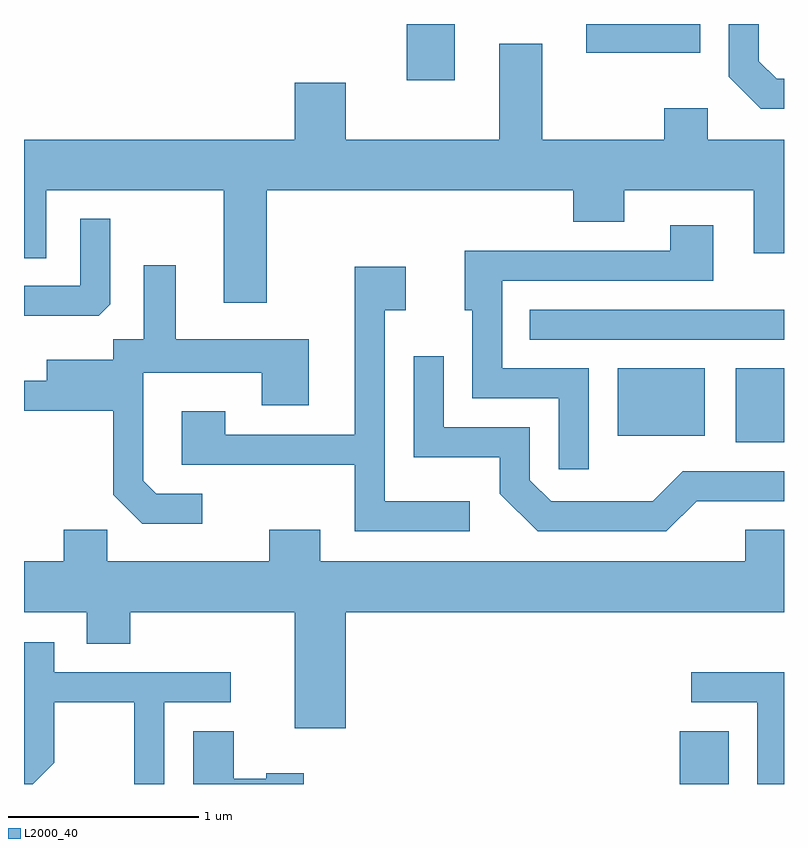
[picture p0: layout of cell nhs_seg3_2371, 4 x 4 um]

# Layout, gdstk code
import gdstk
lib = gdstk.Library(unit=1e-6, precision=1e-09)
def R(c, l, rs):  # rectangles x0, y0, x1, y1
    for r in rs: c.add(gdstk.rectangle(r[:2], r[2:], *l))
def P(c, l, *ps):  # polygons
    for p in ps: c.add(gdstk.Polygon(p, *l))
L2000_40 = (2000, 40)

nhs_seg3_2371 = lib.new_cell('nhs_seg3_2371')
R(nhs_seg3_2371, L2000_40, [(257.061,1233.892,257.319,1234.169), (257.356,1235.691,257.611,1236.079), (256.736,1235.726,257.194,1236.079), (256.272,1236.231,257.611,1236.389), (255.626,1237.596,255.879,1237.892), (256.571,1237.741,257.169,1237.892)])
P(nhs_seg3_2371, L2000_40, [(257.611,1237.604),(257.572,1237.604),(257.479,1237.697),(257.479,1237.892),(257.321,1237.892),(257.321,1237.614),(257.489,1237.446),(257.611,1237.446)],
  [(254.889,1237.016),(256.501,1237.016),(256.501,1236.851),(256.769,1236.851),(256.769,1237.016),(257.451,1237.016),(257.451,1236.686),(257.611,1236.686),(257.611,1237.284),(257.209,1237.284),(257.209,1237.449),(256.981,1237.449),(256.981,1237.284),(256.339,1237.284),(256.339,1237.789),(256.111,1237.789),(256.111,1237.284),(255.304,1237.284),(255.304,1237.584),(255.036,1237.584),(255.036,1237.284),(253.611,1237.284),(253.611,1236.658),(253.729,1236.658),(253.729,1237.016),(254.661,1237.016),(254.661,1236.426),(254.889,1236.426)],
  [(254.013,1236.365),(254.064,1236.417),(254.064,1236.868),(253.906,1236.868),(253.906,1236.514),(253.611,1236.514),(253.611,1236.356),(254.004,1236.356)],
  [(256.584,1236.079),(256.129,1236.079),(256.129,1236.541),(257.239,1236.541),(257.239,1236.834),(257.011,1236.834),(257.011,1236.699),(255.931,1236.699),(255.931,1236.386),(255.971,1236.386),(255.971,1235.921),(256.426,1235.921),(256.426,1235.548),(256.584,1235.548)],
  [(254.548,1235.419),(254.307,1235.419),(254.239,1235.487),(254.239,1236.056),(254.861,1236.056),(254.861,1235.886),(255.109,1235.886),(255.109,1236.234),(254.409,1236.234),(254.409,1236.623),(254.241,1236.623),(254.241,1236.234),(254.081,1236.234),(254.081,1236.124),(253.731,1236.124),(253.731,1236.014),(253.611,1236.014),(253.611,1235.856),(254.081,1235.856),(254.081,1235.414),(254.234,1235.261),(254.548,1235.261)],
  [(255.958,1235.379),(255.509,1235.379),(255.509,1236.386),(255.619,1236.386),(255.619,1236.614),(255.351,1236.614),(255.351,1235.729),(254.669,1235.729),(254.669,1235.854),(254.441,1235.854),(254.441,1235.571),(255.351,1235.571),(255.351,1235.221),(255.958,1235.221)],
  [(257.152,1235.381),(257.611,1235.381),(257.611,1235.539),(257.079,1235.539),(256.919,1235.379),(256.387,1235.379),(256.274,1235.492),(256.274,1235.769),(255.819,1235.769),(255.819,1236.143),(255.661,1236.143),(255.661,1235.611),(256.116,1235.611),(256.116,1235.419),(256.314,1235.221),(256.992,1235.221)],
  [(255.304,1234.796),(257.611,1234.796),(257.611,1235.229),(257.406,1235.229),(257.406,1235.064),(255.169,1235.064),(255.169,1235.229),(254.901,1235.229),(254.901,1235.064),(254.049,1235.064),(254.049,1235.229),(253.821,1235.229),(253.821,1235.064),(253.611,1235.064),(253.611,1234.796),(253.941,1234.796),(253.941,1234.631),(254.169,1234.631),(254.169,1234.796),(255.036,1234.796),(255.036,1234.186),(255.304,1234.186)],
  [(253.769,1234.004),(253.769,1234.321),(254.191,1234.321),(254.191,1233.892),(254.349,1233.892),(254.349,1234.321),(254.698,1234.321),(254.698,1234.479),(253.769,1234.479),(253.769,1234.639),(253.611,1234.639),(253.611,1233.892),(253.657,1233.892)],
  [(257.611,1234.479),(257.123,1234.479),(257.123,1234.321),(257.471,1234.321),(257.471,1233.892),(257.611,1233.892)],
  [(255.084,1233.949),(254.886,1233.949),(254.886,1233.919),(254.714,1233.919),(254.714,1234.169),(254.501,1234.169),(254.501,1233.892),(255.084,1233.892)])

lib.write_gds('nhs_seg3_2371.gds')
